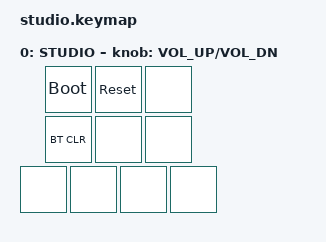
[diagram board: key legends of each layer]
#include <behaviors.dtsi>
#include <dt-bindings/zmk/keys.h>
#include <dt-bindings/zmk/bt.h>
#include <dt-bindings/zmk/outputs.h>

/ {
    keymap {
        compatible = "zmk,keymap";
        default_layer {
            label = "STUDIO";
            bindings = <
                        &bootloader &sys_reset  &none
                        &bt BT_CLR  &none       &none
            &none      &none       &none       &none
            >;
            sensor-bindings = <&inc_dec_kp C_VOL_UP C_VOL_DN>;
        };
    };
};
